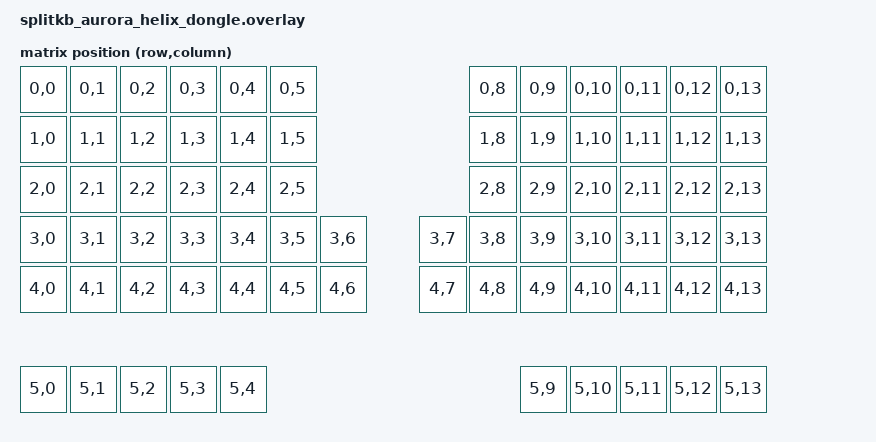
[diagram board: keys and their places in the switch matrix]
/*
 * Copyright (c) 2026 Splitkb.com
 *
 * SPDX-License-Identifier: MIT
 */

#include <physical_layouts.dtsi>
#include <dt-bindings/zmk/matrix_transform.h>

/ {
    chosen {
        zmk,kscan = &mock_kscan;
        zmk,physical-layout = &halcyon_layout;
    };

    mock_kscan: mock_kscan_0 {
        compatible = "zmk,kscan-mock";
        columns = <0>;
        rows = <0>;
        events = <0>;
    };

    halcyon_transform: keymap_transform_0 {
        compatible = "zmk,matrix-transform";
        columns = <14>;
        rows = <6>;
        // | SW1  | SW2  | SW3  | SW4  | SW5  | SW6  |                 | SW6  | SW5  | SW4  | SW3  | SW2  | SW1  |
        // | SW7  | SW8  | SW9  | SW10 | SW11 | SW12 |                 | SW12 | SW11 | SW10 | SW9  | SW8  | SW7  |
        // | SW13 | SW14 | SW15 | SW16 | SW17 | SW18 |                 | SW18 | SW17 | SW16 | SW15 | SW14 | SW13 |
        // | SW19 | SW20 | SW21 | SW22 | SW23 | SW24 | SW25 |   | SW25 | SW24 | SW23 | SW22 | SW21 | SW20 | SW19 |
        // | SW26 | SW27 | SW28 | SW29 | SW30 | SW31 | SW32 |   | SW32 | SW31 | SW30 | SW29 | SW28 | SW27 | SW26 |
        // | D0   | D1   | D2   | D3   | D4   |                               | D4   | D3   | D2   | D1   | D0   |
        map = <
        RC(0,0) RC(0,1) RC(0,2) RC(0,3) RC(0,4) RC(0,5)                 RC(0,8) RC(0,9) RC(0,10) RC(0,11) RC(0,12) RC(0,13)
        RC(1,0) RC(1,1) RC(1,2) RC(1,3) RC(1,4) RC(1,5)                 RC(1,8) RC(1,9) RC(1,10) RC(1,11) RC(1,12) RC(1,13)
        RC(2,0) RC(2,1) RC(2,2) RC(2,3) RC(2,4) RC(2,5)                 RC(2,8) RC(2,9) RC(2,10) RC(2,11) RC(2,12) RC(2,13)
        RC(3,0) RC(3,1) RC(3,2) RC(3,3) RC(3,4) RC(3,5) RC(3,6) RC(3,7) RC(3,8) RC(3,9) RC(3,10) RC(3,11) RC(3,12) RC(3,13)
        RC(4,0) RC(4,1) RC(4,2) RC(4,3) RC(4,4) RC(4,5) RC(4,6) RC(4,7) RC(4,8) RC(4,9) RC(4,10) RC(4,11) RC(4,12) RC(4,13)
        RC(5,0) RC(5,1) RC(5,2) RC(5,3) RC(5,4)                                 RC(5,9) RC(5,10) RC(5,11) RC(5,12) RC(5,13)
        >;
    };

    halcyon_layout: halcyon_layout {
        compatible = "zmk,physical-layout";
        display-name = "Aurora Helix";
        transform = <&halcyon_transform>;

        keys  //                     w   h    x    y     rot    rx    ry
            = <&key_physical_attrs 100 100    0    0       0     0     0>
            , <&key_physical_attrs 100 100  100    0       0     0     0>
            , <&key_physical_attrs 100 100  200    0       0     0     0>
            , <&key_physical_attrs 100 100  300    0       0     0     0>
            , <&key_physical_attrs 100 100  400    0       0     0     0>
            , <&key_physical_attrs 100 100  500    0       0     0     0>
            , <&key_physical_attrs 100 100  900    0       0     0     0>
            , <&key_physical_attrs 100 100 1000    0       0     0     0>
            , <&key_physical_attrs 100 100 1100    0       0     0     0>
            , <&key_physical_attrs 100 100 1200    0       0     0     0>
            , <&key_physical_attrs 100 100 1300    0       0     0     0>
            , <&key_physical_attrs 100 100 1400    0       0     0     0>
            , <&key_physical_attrs 100 100    0  100       0     0     0>
            , <&key_physical_attrs 100 100  100  100       0     0     0>
            , <&key_physical_attrs 100 100  200  100       0     0     0>
            , <&key_physical_attrs 100 100  300  100       0     0     0>
            , <&key_physical_attrs 100 100  400  100       0     0     0>
            , <&key_physical_attrs 100 100  500  100       0     0     0>
            , <&key_physical_attrs 100 100  900  100       0     0     0>
            , <&key_physical_attrs 100 100 1000  100       0     0     0>
            , <&key_physical_attrs 100 100 1100  100       0     0     0>
            , <&key_physical_attrs 100 100 1200  100       0     0     0>
            , <&key_physical_attrs 100 100 1300  100       0     0     0>
            , <&key_physical_attrs 100 100 1400  100       0     0     0>
            , <&key_physical_attrs 100 100    0  200       0     0     0>
            , <&key_physical_attrs 100 100  100  200       0     0     0>
            , <&key_physical_attrs 100 100  200  200       0     0     0>
            , <&key_physical_attrs 100 100  300  200       0     0     0>
            , <&key_physical_attrs 100 100  400  200       0     0     0>
            , <&key_physical_attrs 100 100  500  200       0     0     0>
            , <&key_physical_attrs 100 100  900  200       0     0     0>
            , <&key_physical_attrs 100 100 1000  200       0     0     0>
            , <&key_physical_attrs 100 100 1100  200       0     0     0>
            , <&key_physical_attrs 100 100 1200  200       0     0     0>
            , <&key_physical_attrs 100 100 1300  200       0     0     0>
            , <&key_physical_attrs 100 100 1400  200       0     0     0>
            , <&key_physical_attrs 100 100    0  300       0     0     0>
            , <&key_physical_attrs 100 100  100  300       0     0     0>
            , <&key_physical_attrs 100 100  200  300       0     0     0>
            , <&key_physical_attrs 100 100  300  300       0     0     0>
            , <&key_physical_attrs 100 100  400  300       0     0     0>
            , <&key_physical_attrs 100 100  500  300       0     0     0>
            , <&key_physical_attrs 100 100  600  300       0     0     0>
            , <&key_physical_attrs 100 100  800  300       0     0     0>
            , <&key_physical_attrs 100 100  900  300       0     0     0>
            , <&key_physical_attrs 100 100 1000  300       0     0     0>
            , <&key_physical_attrs 100 100 1100  300       0     0     0>
            , <&key_physical_attrs 100 100 1200  300       0     0     0>
            , <&key_physical_attrs 100 100 1300  300       0     0     0>
            , <&key_physical_attrs 100 100 1400  300       0     0     0>
            , <&key_physical_attrs 100 100    0  400       0     0     0>
            , <&key_physical_attrs 100 100  100  400       0     0     0>
            , <&key_physical_attrs 100 100  200  400       0     0     0>
            , <&key_physical_attrs 100 100  300  400       0     0     0>
            , <&key_physical_attrs 100 100  400  400       0     0     0>
            , <&key_physical_attrs 100 100  500  400       0     0     0>
            , <&key_physical_attrs 100 100  600  400       0     0     0>
            , <&key_physical_attrs 100 100  800  400       0     0     0>
            , <&key_physical_attrs 100 100  900  400       0     0     0>
            , <&key_physical_attrs 100 100 1000  400       0     0     0>
            , <&key_physical_attrs 100 100 1100  400       0     0     0>
            , <&key_physical_attrs 100 100 1200  400       0     0     0>
            , <&key_physical_attrs 100 100 1300  400       0     0     0>
            , <&key_physical_attrs 100 100 1400  400       0     0     0>
            , <&key_physical_attrs 100 100    0  600       0     0     0> // Halcyon button left 1
            , <&key_physical_attrs 100 100  100  600       0     0     0> // Halcyon button left 2
            , <&key_physical_attrs 100 100  200  600       0     0     0> // Halcyon button left 3
            , <&key_physical_attrs 100 100  300  600       0     0     0> // Halcyon button left 4
            , <&key_physical_attrs 100 100  400  600       0     0     0> // Halcyon button left 5
            , <&key_physical_attrs 100 100 1000  600       0     0     0> // Halcyon button right 5
            , <&key_physical_attrs 100 100 1100  600       0     0     0> // Halcyon button right 4
            , <&key_physical_attrs 100 100 1200  600       0     0     0> // Halcyon button right 3
            , <&key_physical_attrs 100 100 1300  600       0     0     0> // Halcyon button right 2
            , <&key_physical_attrs 100 100 1400  600       0     0     0> // Halcyon button right 1
            ;
    };

    left_halcyon_encoder: halcyon_encoder_left {
        status = "disabled";
    };

    right_halcyon_encoder: halcyon_encoder_right {
        status = "disabled";
    };
    
    left_encoder: left_encoder {
        status = "disabled";
    };

    right_encoder: right_encoder {
        status = "disabled";
    };

    sensors: sensors {
        compatible = "zmk,keymap-sensors";
        sensors = <&left_halcyon_encoder &right_halcyon_encoder &left_encoder &right_encoder>;
        triggers-per-rotation = <20>;
    };
};
